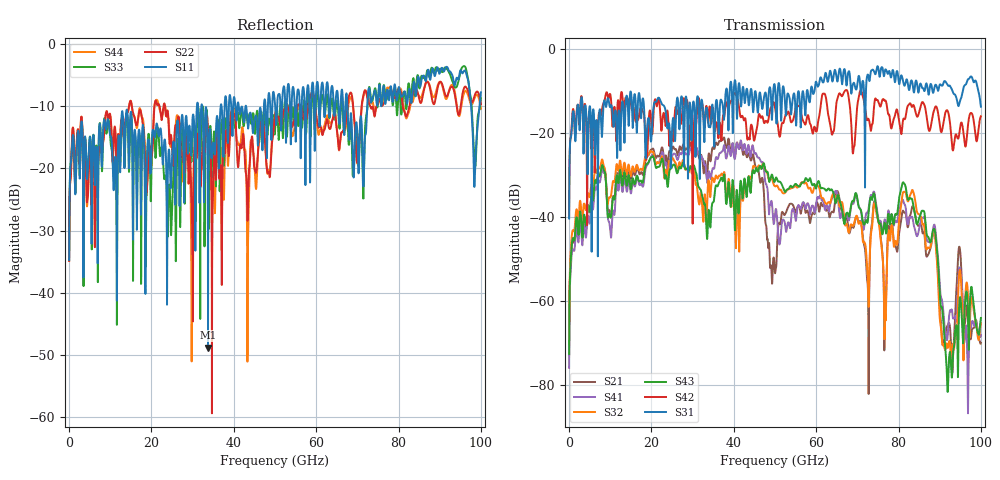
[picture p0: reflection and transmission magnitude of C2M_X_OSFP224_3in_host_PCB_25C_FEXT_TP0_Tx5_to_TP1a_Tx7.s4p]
# GHz S RI R 45
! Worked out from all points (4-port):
!   4000 points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, 25 MHz to 100 GHz, reference 45 ohm
!   strongest paths, dB at 25 MHz, 25.02 GHz, 50.02 GHz, 75.03 GHz, 100 GHz:
!     S31: -40.3, -19.1, -9.1, -4.2, -13.7
!     S42: -40.1, -20.6, -13.9, -12.3, -15.9
!     S43: -72.6, -28.0, -31.3, -40.6, -64.0
!     S32: -70.3, -26.0, -32.6, -40.6, -65.3
!     S41: -75.9, -25.5, -39.2, -40.1, -68.1
!     S21: -72.8, -23.6, -53.4, -40.2, -70.0
!   lowest |S11| = -48.8 dB at 33.75 GHz (marker M1), VSWR 1.01, Z = 45.1 - j0.298 ohm
!   |S11| at or under -10 dB: start of sweep to 31.06 GHz; 32.33 GHz to 36.82 GHz (4.488 GHz wide, 13 % of centre); 67.59 GHz to 72.39 GHz (4.794 GHz wide, 6.85 % of centre) (the widest 3 of 29)
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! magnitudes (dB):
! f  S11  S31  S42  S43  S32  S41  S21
! 25 MHz  -34.7  -40.3  -40.1  -72.6  -70.3  -75.9  -72.8
! 8.125 GHz  -17.1  -18.2  -13.7  -27.6  -26.4  -28.5  -27.5
! 33.75 GHz  -48.8  -16.9  -17.5  -40.4  -32.0  -31.2  -26.8
! 76.7 GHz  -9.1  -5.2  -12.3  -41.5  -64.7  -40.6  -58.9
! 81.28 GHz  -8.0  -8.3  -16.5  -31.8  -34.0  -36.5  -38.8
! 91.85 GHz  -3.7  -8.3  -14.6  -80.2  -70.9  -69.0  -66.0
! 100 GHz  -7.8  -13.7  -15.9  -64.0  -65.3  -68.1  -70.0
